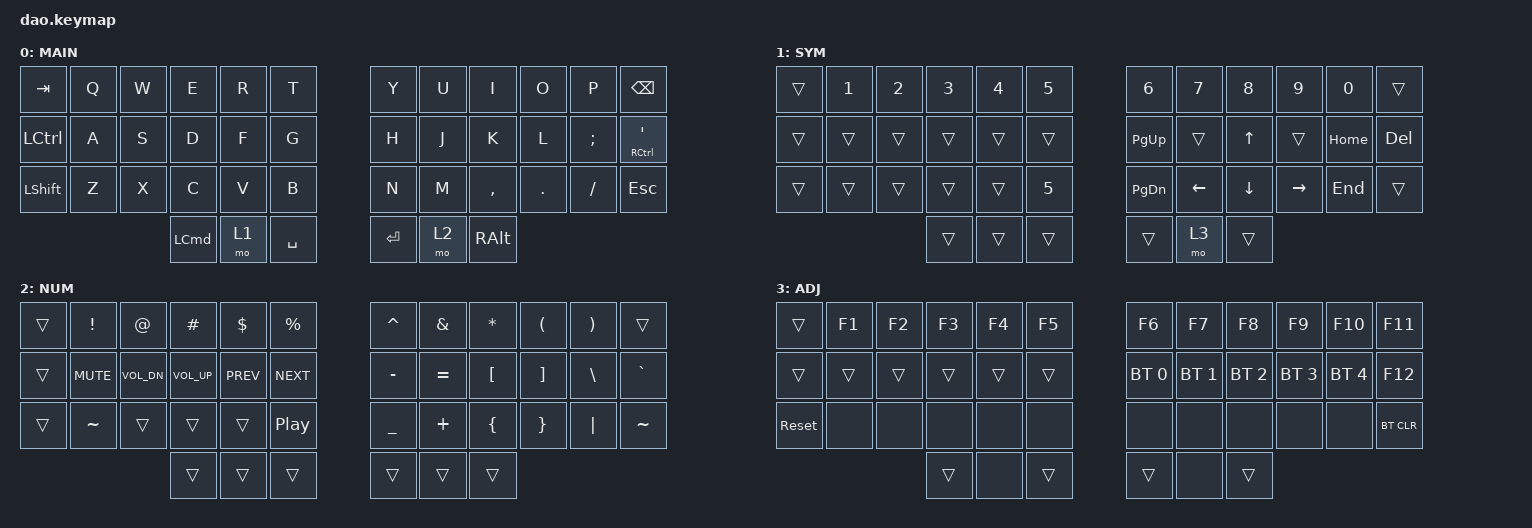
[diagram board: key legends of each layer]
/*
 * Copyright (c) 2021 Rafael Yumagulov
 *
 * SPDX-License-Identifier: MIT
 */

#include <behaviors.dtsi>
#include <dt-bindings/zmk/bt.h>
#include <dt-bindings/zmk/keys.h>

#define DEF 0
#define LWR 1
#define RSE 2
#define ADJ 3

&lt { quick_tap_ms = <200>; };

&mt { quick_tap_ms = <200>; };

/ {
    chosen {
        zmk,physical_layout = &dao_crkbd_layout;

        // zmk,physical_layout = &dao_full_layout;
    };
};

/ {
    keymap {
        compatible = "zmk,keymap";

        default_layer {
            display-name = "MAIN";
            bindings = <
&kp TAB         &kp Q  &kp W  &kp E             &kp R  &kp T      &kp Y      &kp U  &kp I          &kp O    &kp P     &kp BACKSPACE
&kp LCTRL       &kp A  &kp S  &kp D             &kp F  &kp G      &kp H      &kp J  &kp K          &kp L    &kp SEMI  &mt RCTRL SQT
&kp LEFT_SHIFT  &kp Z  &kp X  &kp C             &kp V  &kp B      &kp N      &kp M  &kp COMMA      &kp DOT  &kp FSLH  &kp ESCAPE
                              &kp LEFT_COMMAND  &mo 1  &kp SPACE  &kp ENTER  &mo 2  &kp RIGHT_ALT
            >;
        };

        lower_layer {
            display-name = "SYM";
            bindings = <
&trans  &kp NUMBER_1  &kp NUMBER_2  &kp NUMBER_3  &kp NUMBER_4  &kp N5  &kp NUMBER_6   &kp N7    &kp NUMBER_8  &kp NUMBER_9  &kp NUMBER_0  &trans
&trans  &trans        &trans        &trans        &trans        &trans  &kp PAGE_UP    &trans    &kp UP        &trans        &kp HOME      &kp DELETE
&trans  &trans        &trans        &trans        &trans        &kp N5  &kp PAGE_DOWN  &kp LEFT  &kp DOWN      &kp RIGHT     &kp END       &trans
                                    &trans        &trans        &trans  &trans         &mo 3     &trans
            >;
        };

        raise_layer {
            display-name = "NUM";
            bindings = <
&trans  &kp EXCLAMATION  &kp AT_SIGN   &kp HASH      &kp DOLLAR  &kp PERCENT  &kp CARET       &kp AMPERSAND  &kp ASTERISK      &kp LEFT_PARENTHESIS  &kp RIGHT_PARENTHESIS  &trans
&trans  &kp K_MUTE       &kp C_VOL_DN  &kp C_VOL_UP  &kp C_PREV  &kp C_NEXT   &kp MINUS       &kp EQUAL      &kp LEFT_BRACKET  &kp RIGHT_BRACKET     &kp BACKSLASH          &kp GRAVE
&trans  &kp TILDE        &trans        &trans        &trans      &kp C_PP     &kp UNDERSCORE  &kp PLUS       &kp LEFT_BRACE    &kp RIGHT_BRACE       &kp PIPE               &kp TILDE
                                       &trans        &trans      &trans       &trans          &trans         &trans
            >;
        };

        adjust_layer {
            display-name = "ADJ";
            bindings = <
&trans      &kp F1  &kp F2  &kp F3  &kp F4  &kp F5  &kp F6        &kp F7        &kp F8        &kp F9        &kp F10       &kp F11
&trans      &trans  &trans  &trans  &trans  &trans  &bt BT_SEL 0  &bt BT_SEL 1  &bt BT_SEL 2  &bt BT_SEL 3  &bt BT_SEL 4  &kp F12
&sys_reset  &none   &none   &none   &none   &none   &none         &none         &none         &none         &none         &bt BT_CLR
                            &trans  &none   &trans  &trans        &none         &trans
            >;
        };
    };
};
